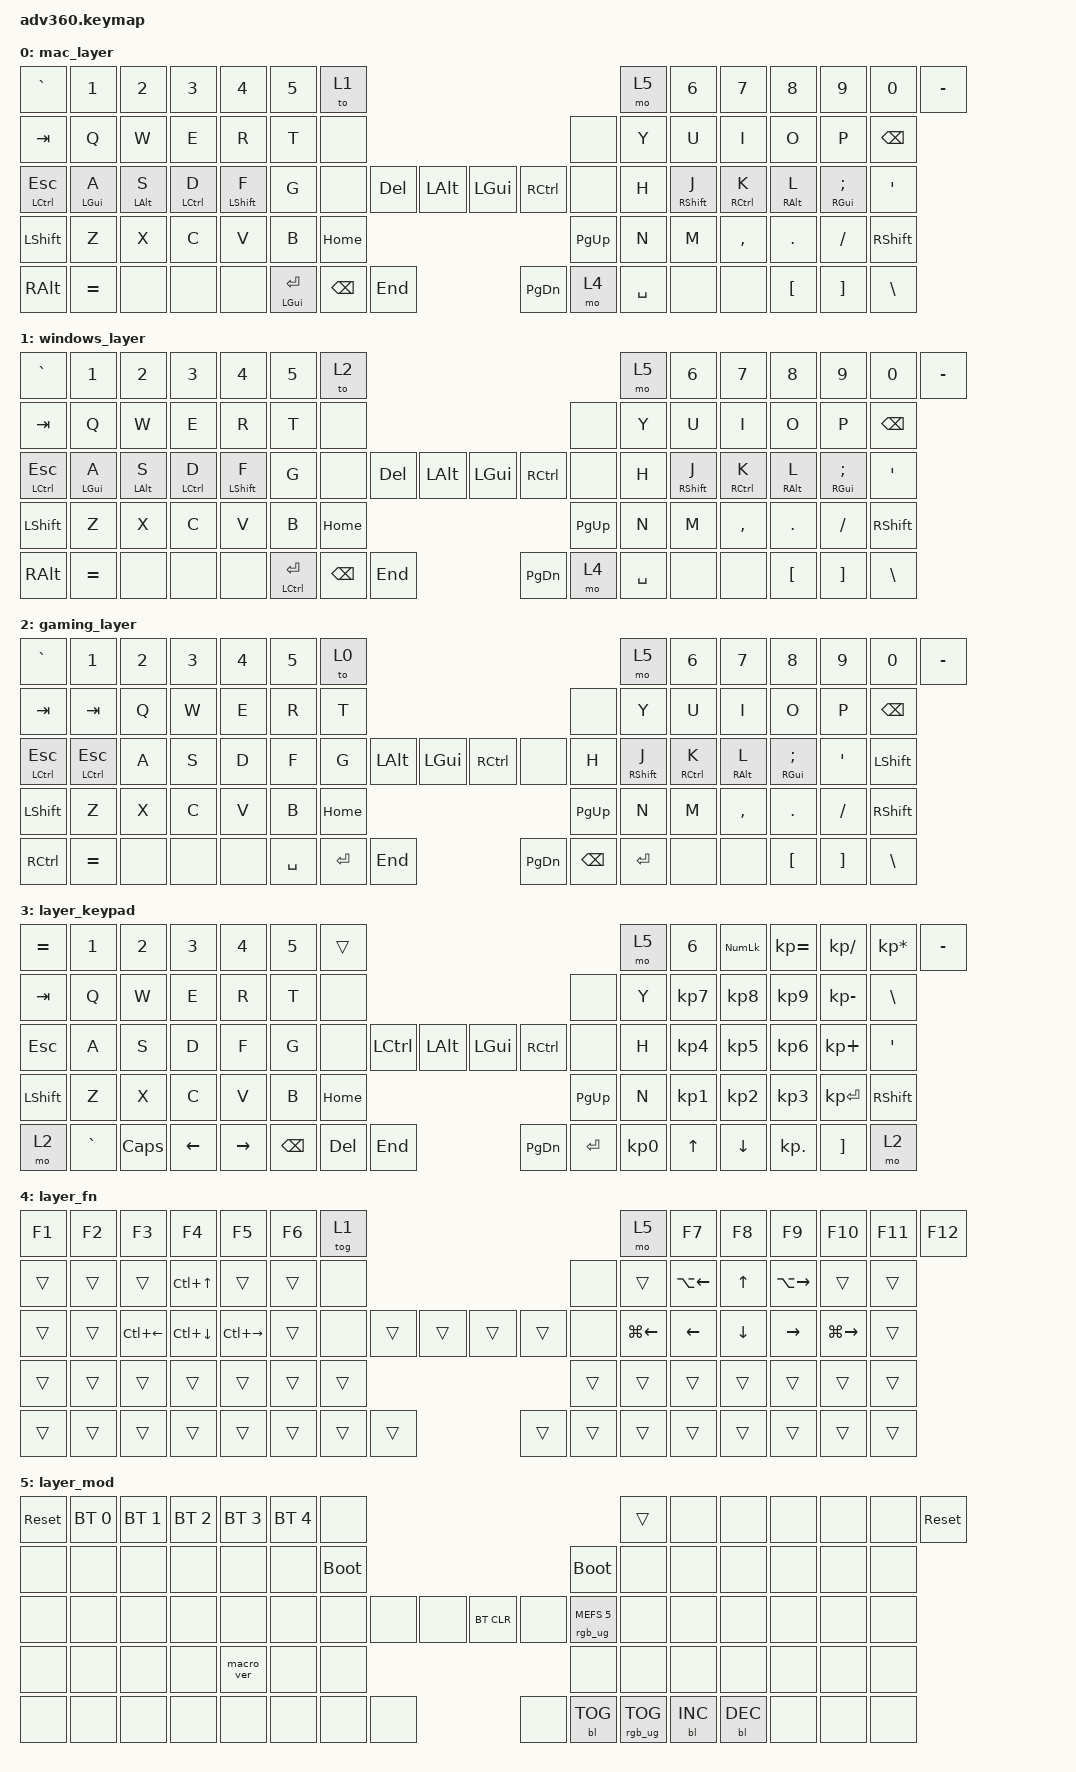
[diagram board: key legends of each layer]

/*
 * Copyright (c) 2020 The ZMK Contributors
 *
 * SPDX-License-Identifier: MIT
 */


/* THIS FILE WAS GENERATED!
 *
 * This file was generated automatically. You may or may not want to
 * edit it directly.
 */

#include <behaviors.dtsi>
#include <dt-bindings/zmk/keys.h>
#include <dt-bindings/zmk/bt.h>
#include <dt-bindings/zmk/rgb.h>
#include <dt-bindings/zmk/backlight.h>

#define LEFT_HAND_KEYS 0 1 2 3 4 5 6 \
                  14 15 16 17 18 19 20 \
                  28 29 30 31 32 33 34 \
                  46 47 48 49 50 51 \
                  66 67 68 69 70

#define RIGHT_HAND_KEYS 7 8 9 10 11 12 13 \
                   21 22 23 24 25 26 27 \
                   39 40 41 42 43 44 45 \
                   60 61 62 63 64 65 \
                   77 78 79 80 81

#define LEFT_HAND_THUMB_KEYS 35 36 54 71 72 73

#define RIGHT_HAND_THUMB_KEYS 37 38 57 74 75 76

#define THUMB_KEYS LEFT_HAND_THUMB_KEYS RIGHT_HAND_THUMB_KEYS

//&lt {
//    quick-tap-ms = <300>;
//    global-quick-tap;
//};

/ {
    behaviors {
        #ifndef HOME_ROW_HOLDING_TYPE
        #define HOME_ROW_HOLDING_TYPE "tap-preferred"
        #endif
        #ifndef HOME_ROW_HOLDING_TIME
        #define HOME_ROW_HOLDING_TIME 270 // TAPPING_TERM + ALLOW_CROSSOVER_AFTER
        #endif
        #ifndef HOME_ROW_STREAK_DECAY
        #define HOME_ROW_STREAK_DECAY 170 // global-quick-tap-ms
        #endif
        #ifndef HOME_ROW_REPEAT_DECAY
        #define HOME_ROW_REPEAT_DECAY 300 // "tap then hold" for key auto-repeat
        #endif
        #ifndef SHIFT_HOLDING_TYPE
        #define SHIFT_HOLDING_TYPE "tap-preferred"
        #endif
        #ifndef SHIFT_HOLDING_TIME
        #define SHIFT_HOLDING_TIME 170
        #endif
        #ifndef SHIFT_STREAK_DECAY
        #define SHIFT_STREAK_DECAY 70 // global-quick-tap-ms
        #endif
        #ifndef SHIFT_REPEAT_DECAY
        #define SHIFT_REPEAT_DECAY 300 // "tap then hold" for key auto-repeat
        #endif
        #ifndef THUMB_HOLDING_TYPE
        #define THUMB_HOLDING_TYPE "balanced"
        #endif
        #ifndef THUMB_HOLDING_TIME
        #define THUMB_HOLDING_TIME 200
        #endif
        #ifndef THUMB_REPEAT_DECAY
        #define THUMB_REPEAT_DECAY 300 // "tap then hold" for key auto-repeat
        #endif
        #ifndef SPACE_HOLDING_TIME
        #define SPACE_HOLDING_TIME 170
        #endif
        #ifndef SPACE_REPEAT_DECAY
        #define SPACE_REPEAT_DECAY 200 // "tap then hold" for key auto-repeat
        #endif

        #include "macros.dtsi"

        hm: homerow_mods {
            compatible = "zmk,behavior-hold-tap";
            label = "HOMEROW_MODS";
            #binding-cells = <2>;
            tapping-term-ms = <200>;
            quick_tap_ms = <175>;
            flavor = "tap-preferred";
            #flavor = "balanced";
            bindings = <&kp>, <&kp>;
        };
/*
        hm_l: homerow_mods_left {
            compatible = "zmk,behavior-hold-tap";
            label = "HOMEROW_MODS_LEFT";
            #binding-cells = <2>;
            tapping-term-ms = <200>;
            quick_tap_ms = <175>;
            flavor = "tap-preferred";
            bindings = <&kp>, <&kp>;
            hold-trigger-key-positions = <RIGHT_HAND_KEYS THUMB_KEYS>;
        };

        hm_r: homerow_mods_right {
            compatible = "zmk,behavior-hold-tap";
            label = "HOMEROW_MODS_RIGHT";
            #binding-cells = <2>;
            tapping-term-ms = <200>;
            quick_tap_ms = <175>;
            flavor = "tap-preferred";
            bindings = <&kp>, <&kp>;
            hold-trigger-key-positions = <LEFT_HAND_KEYS THUMB_KEYS>;
        };
*/
        hm_l: homerow_mods_left {
            compatible = "zmk,behavior-hold-tap";
            label = "HOME_ROW_MODS_LEFT_HAND";
            flavor = HOME_ROW_HOLDING_TYPE;
            hold-trigger-key-positions = <RIGHT_HAND_KEYS THUMB_KEYS>;
            hold-trigger-on-release; // wait for other home row mods
            tapping-term-ms = <HOME_ROW_HOLDING_TIME>;
            quick-tap-ms = <HOME_ROW_REPEAT_DECAY>;
            require-prior-idle-ms = <HOME_ROW_STREAK_DECAY>;
            #binding-cells = <2>;
            bindings = <&kp>, <&kp>;
        };

        hm_r: homerow_mods_right {
            compatible = "zmk,behavior-hold-tap";
            label = "HOME_ROW_MODS_RIGHT_HAND";
            flavor = HOME_ROW_HOLDING_TYPE;
            hold-trigger-key-positions = <LEFT_HAND_KEYS THUMB_KEYS>;
            hold-trigger-on-release; // wait for other home row mods
            tapping-term-ms = <HOME_ROW_HOLDING_TIME>;
            quick-tap-ms = <HOME_ROW_REPEAT_DECAY>;
            require-prior-idle-ms = <HOME_ROW_STREAK_DECAY>;
            #binding-cells = <2>;
            bindings = <&kp>, <&kp>;
        };

        hm_shift_left: miryoku_home_row_mods_left_shift_shift {
            compatible = "zmk,behavior-hold-tap";
            label = "HOME_ROW_MODS_LEFT_SHIFT_SHIFT";
            flavor = SHIFT_HOLDING_TYPE;
            hold-trigger-key-positions = <RIGHT_HAND_KEYS THUMB_KEYS>;
            //hold-trigger-on-release; // don't wait for other mods
            tapping-term-ms = <SHIFT_HOLDING_TIME>;
            quick-tap-ms = <SHIFT_REPEAT_DECAY>;
            require-prior-idle-ms = <SHIFT_STREAK_DECAY>;
            #binding-cells = <2>;
            bindings = <&kp>, <&kp>;
        };

        hm_shift_right: miryoku_home_row_mods_right_shift_shift {
            compatible = "zmk,behavior-hold-tap";
            label = "HOME_ROW_MODS_RIGHT_SHIFT_SHIFT";
            flavor = SHIFT_HOLDING_TYPE;
            hold-trigger-key-positions = <LEFT_HAND_KEYS THUMB_KEYS>;
            //hold-trigger-on-release; // don't wait for other mods
            tapping-term-ms = <SHIFT_HOLDING_TIME>;
            quick-tap-ms = <SHIFT_REPEAT_DECAY>;
            require-prior-idle-ms = <SHIFT_STREAK_DECAY>;
            #binding-cells = <2>;
            bindings = <&kp>, <&kp>;
        };

        thumb: miryoku_thumb_layer {
            compatible = "zmk,behavior-hold-tap";
            label = "MIRYOKU_THUMB_LAYER";
            flavor = THUMB_HOLDING_TYPE;
            tapping-term-ms = <THUMB_HOLDING_TIME>;
            quick-tap-ms = <THUMB_REPEAT_DECAY>; // enable repeat
            //global-quick-tap; // no typing streak
            //retro-tap; // don't allow slow (hold-like) taps
            #binding-cells = <2>;
            bindings = <&mo>, <&kp>;
        };

        space: miryoku_thumb_layer_spacebar {
            compatible = "zmk,behavior-hold-tap";
            label = "MIRYOKU_THUMB_LAYER_SPACEBAR";
            flavor = THUMB_HOLDING_TYPE;
            tapping-term-ms = <SPACE_HOLDING_TIME>;
            quick-tap-ms = <SPACE_REPEAT_DECAY>; // enable repeat
            //global-quick-tap; // no typing streak
            retro-tap; // allow slow (hold-like) taps
            #binding-cells = <2>;
            bindings = <&mo>, <&kp>;
        };
        macro_ver: macro_ver {
            compatible = "zmk,behavior-macro";
            label = "macro_version";
            #binding-cells = <0>;
            bindings = <&kp RET>;
        };
    };

    // Home row mods
    #define _F_SFT &hm_shift_left LSHFT F  // Shift on index fingers
    #define _J_SFT &hm_shift_right RSHFT J
    #define _D_CTRL &hm_l LCTRL D   // Command on middle fingers
    #define _K_CTRL &hm_r RCTRL K
    #define _S_ALT &hm_l LALT S  // Control on index down
    #define _L_ALT &hm_r RALT L
    #define _A_CMD &hm_l LGUI A   // Option on ring finger
    #define _SEMI_CMD &hm_r RGUI SEMI

    keymap {
        compatible = "zmk,keymap";


        mac_layer {
            bindings = <
        &kp GRAVE     &kp N1  &kp N2  &kp N3  &kp N4  &kp N5                    &to 1                                                                  &mo 5  &kp N6  &kp N7     &kp N8    &kp N9    &kp N0  &kp MINUS
          &kp TAB      &kp Q   &kp W   &kp E   &kp R   &kp T                     &none                                                                  &none   &kp Y   &kp U      &kp I     &kp O     &kp P   &kp BACKSPACE
 &mt LCTRL ESCAPE      _A_CMD   _S_ALT   _D_CTRL   _F_SFT   &kp G                     &none     &kp DELETE  &kp LALT                   &kp LGUI  &kp RCTRL   &none   &kp H   _J_SFT      _K_CTRL     _L_ALT  _SEMI_CMD    &kp SQT
        &kp LSHFT      &kp Z   &kp X   &kp C   &kp V   &kp B                                           &kp HOME                  &kp PG_UP                      &kp N   &kp M  &kp COMMA   &kp DOT  &kp FSLH  &kp RSHFT
         &kp RALT  &kp EQUAL   &none   &none   &none                    &mt LGUI ENTER  &kp BACKSPACE   &kp END                  &kp PG_DN   &mo 4  &kp SPACE        &none      &none  &kp LBKT  &kp RBKT      &kp BSLH
            >;
        };

        windows_layer {
            bindings = <
        &kp GRAVE     &kp N1  &kp N2  &kp N3  &kp N4  &kp N5                    &to 2                                                                   &mo 5  &kp N6  &kp N7     &kp N8    &kp N9    &kp N0  &kp MINUS
          &kp TAB      &kp Q   &kp W   &kp E   &kp R   &kp T                     &none                                                                  &none   &kp Y   &kp U      &kp I     &kp O     &kp P   &kp BACKSPACE
 &mt LCTRL ESCAPE      _A_CMD   _S_ALT   _D_CTRL   _F_SFT   &kp G                     &none     &kp DELETE  &kp LALT                   &kp LGUI  &kp RCTRL   &none   &kp H   _J_SFT      _K_CTRL     _L_ALT  _SEMI_CMD    &kp SQT
        &kp LSHFT      &kp Z   &kp X   &kp C   &kp V   &kp B                                           &kp HOME                  &kp PG_UP                      &kp N   &kp M  &kp COMMA   &kp DOT  &kp FSLH  &kp RSHFT
         &kp RALT  &kp EQUAL   &none   &none   &none                    &mt LCTRL ENTER  &kp BACKSPACE   &kp END                  &kp PG_DN   &mo 4  &kp SPACE        &none      &none  &kp LBKT  &kp RBKT      &kp BSLH
            >;
        };
        
        gaming_layer {
            bindings = <
        &kp GRAVE     &kp N1  &kp N2  &kp N3  &kp N4  &kp N5                    &to 0                                                                  &mo 5  &kp N6  &kp N7     &kp N8    &kp N9    &kp N0  &kp MINUS
        &kp TAB &kp TAB      &kp Q   &kp W   &kp E   &kp R   &kp T                                                                                       &none   &kp Y   &kp U      &kp I     &kp O     &kp P   &kp BACKSPACE
        &mt LCTRL ESCAPE    &mt LCTRL ESCAPE      &kp A   &kp S   &kp D   &kp F   &kp G                       &kp LALT                   &kp LGUI  &kp RCTRL   &none   &kp H   _J_SFT      _K_CTRL     _L_ALT  _SEMI_CMD    &kp SQT
        &kp LSHFT &kp LSHFT      &kp Z   &kp X   &kp C   &kp V   &kp B                                           &kp HOME                  &kp PG_UP                      &kp N   &kp M  &kp COMMA   &kp DOT  &kp FSLH  &kp RSHFT
         &kp RCTRL  &kp EQUAL   &none   &none   &none                    &kp SPACE   &kp ENTER   &kp END                  &kp PG_DN   &kp BACKSPACE  &kp ENTER        &none      &none  &kp LBKT  &kp RBKT      &kp BSLH
            >;
        };
       
        layer_keypad {
            bindings = <
 &kp EQUAL     &kp N1    &kp N2    &kp N3     &kp N4  &kp N5              &trans                                                                 &mo 5  &kp N6  &kp KP_NUM  &kp KP_EQUAL  &kp KP_DIVIDE  &kp KP_MULTIPLY  &kp MINUS
   &kp TAB      &kp Q     &kp W     &kp E      &kp R   &kp T               &none                                                                 &none   &kp Y   &kp KP_N7     &kp KP_N8      &kp KP_N9     &kp KP_MINUS   &kp BSLH
   &kp ESC      &kp A     &kp S     &kp D      &kp F   &kp G               &none  &kp LCTRL  &kp LALT                   &kp LGUI  &kp RCTRL      &none   &kp H   &kp KP_N4     &kp KP_N5      &kp KP_N6      &kp KP_PLUS    &kp SQT
 &kp LSHFT      &kp Z     &kp X     &kp C      &kp V   &kp B                                 &kp HOME                  &kp PG_UP                         &kp N   &kp KP_N1     &kp KP_N2      &kp KP_N3     &kp KP_ENTER  &kp RSHFT
     &mo 2  &kp GRAVE  &kp CAPS  &kp LEFT  &kp RIGHT                    &kp BSPC    &kp DEL   &kp END                  &kp PG_DN  &kp ENTER  &kp KP_N0              &kp UP      &kp DOWN     &kp KP_DOT         &kp RBKT      &mo 2
            >;
        };

        layer_fn {
            bindings = <
 &kp F1  &kp F2  &kp F3  &kp F4  &kp F5  &kp F6            &tog 1                                                   &mo 5  &kp F7  &kp F8  &kp F9  &kp F10  &kp F11  &kp F12
 &trans  &trans  &trans  &kp LC(UP)  &trans  &trans             &none                                                   &none  &trans  &kp LA(LEFT)  &kp UP   &kp LA(RIGHT)   &trans   &trans
 &trans  &trans  &kp LC(LEFT)  &kp LC(DOWN)  &kp LC(RIGHT)  &trans             &none  &trans  &trans                  &trans  &trans   &none  &kp LG(LEFT)  &kp LEFT  &kp DOWN   &kp RIGHT   &kp LG(RIGHT)   &trans
 &trans  &trans  &trans  &trans  &trans  &trans                            &trans                  &trans                  &trans  &trans  &trans   &trans   &trans   &trans
 &trans  &trans  &trans  &trans  &trans                    &trans  &trans  &trans                  &trans  &trans  &trans          &trans  &trans   &trans   &trans   &trans
            >;
        };

        layer_mod {
            bindings = <
  &sys_reset  &bt BT_SEL 0  &bt BT_SEL 1  &bt BT_SEL 2  &bt BT_SEL 3  &bt BT_SEL 4                  &none                                                                          &trans   &none       &none       &none   &none   &none   &sys_reset
  &none         &none         &none         &none         &none         &none            &bootloader                                                                     &bootloader   &none       &none       &none   &none   &none   &none
  &none         &none         &none         &none         &none         &none                  &none   &none   &none                  &bt BT_CLR       &none  &rgb_ug RGB_MEFS_CMD 5   &none       &none       &none   &none   &none   &none
  &none         &none         &none         &none    &macro_ver         &none                                  &none                       &none                                       &none       &none       &none   &none   &none   &none
  &none         &none         &none         &none         &none                                &none   &none   &none                       &none  &bl BL_TOG         &rgb_ug RGB_TOG          &bl BL_INC  &bl BL_DEC   &none   &none   &none
            >;
        };

    };
};
